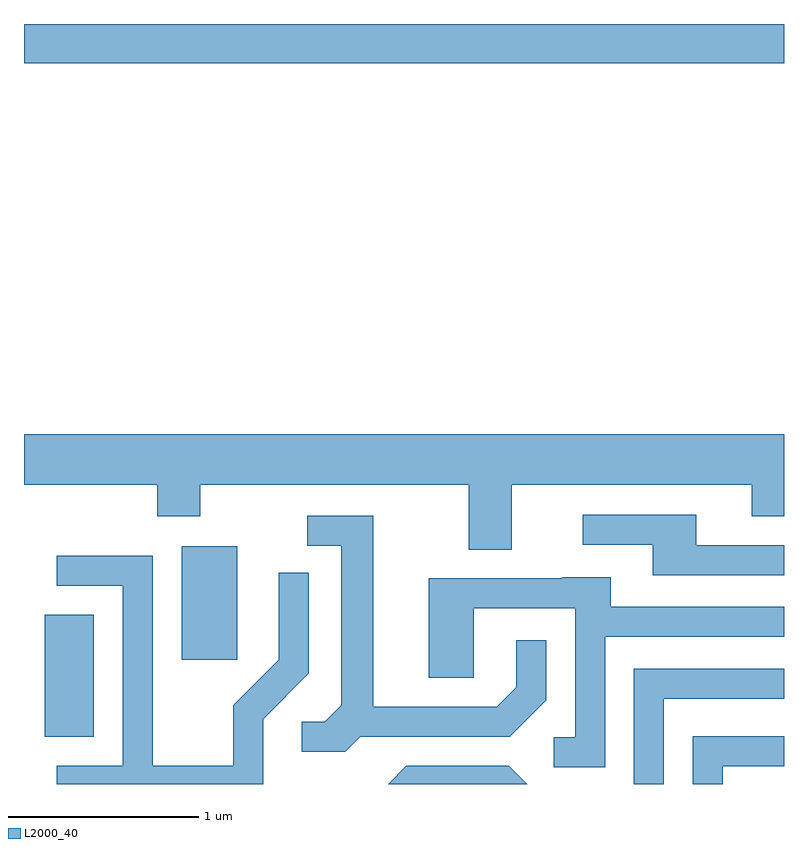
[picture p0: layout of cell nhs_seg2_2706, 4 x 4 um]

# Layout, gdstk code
import gdstk
lib = gdstk.Library(unit=1e-6, precision=1e-09)
def R(c, l, rs):  # rectangles x0, y0, x1, y1
    for r in rs: c.add(gdstk.rectangle(r[:2], r[2:], *l))
def P(c, l, *ps):  # polygons
    for p in ps: c.add(gdstk.Polygon(p, *l))
L2000_40 = (2000, 40)

nhs_seg2_2706 = lib.new_cell('nhs_seg2_2706')
R(nhs_seg2_2706, L2000_40, [(263.721,1098.051,263.979,1098.694), (264.441,1098.456,264.734,1099.054), (263.611,1101.596,267.611,1101.802)])
P(nhs_seg2_2706, L2000_40, [(266.179,1099.376),(267.441,1099.376),(267.441,1099.211),(267.611,1099.211),(267.611,1099.644),(263.611,1099.644),(263.611,1099.376),(264.311,1099.376),(264.311,1099.211),(264.539,1099.211),(264.539,1099.376),(265.951,1099.376),(265.951,1099.036),(266.179,1099.036)],
  [(267.611,1099.059),(267.149,1099.059),(267.149,1099.219),(266.553,1099.219),(266.553,1099.061),(266.921,1099.061),(266.921,1098.901),(267.611,1098.901)],
  [(265.382,1098.051),(266.167,1098.051),(266.359,1098.244),(266.359,1098.558),(266.201,1098.558),(266.201,1098.312),(266.099,1098.209),(265.449,1098.209),(265.449,1099.214),(265.103,1099.214),(265.103,1099.056),(265.281,1099.056),(265.281,1098.217),(265.194,1098.129),(265.073,1098.129),(265.073,1097.971),(265.302,1097.971)],
  [(264.869,1098.144),(265.109,1098.384),(265.109,1098.913),(264.951,1098.913),(264.951,1098.457),(264.711,1098.217),(264.711,1097.899),(264.289,1097.899),(264.289,1099.004),(263.783,1099.004),(263.783,1098.846),(264.131,1098.846),(264.131,1097.899),(263.783,1097.899),(263.783,1097.802),(264.869,1097.802)],
  [(266.669,1098.576),(267.611,1098.576),(267.611,1098.734),(266.699,1098.734),(266.699,1098.889),(266.445,1098.889),(266.445,1098.884),(265.741,1098.884),(265.741,1098.361),(265.979,1098.361),(265.979,1098.726),(266.511,1098.726),(266.511,1098.049),(266.398,1098.049),(266.398,1097.891),(266.669,1097.891)],
  [(266.979,1098.251),(267.611,1098.251),(267.611,1098.409),(266.821,1098.409),(266.821,1097.802),(266.979,1097.802)],
  [(267.289,1097.896),(267.611,1097.896),(267.611,1098.054),(267.131,1098.054),(267.131,1097.802),(267.289,1097.802)],
  [(266.162,1097.899),(265.624,1097.899),(265.527,1097.802),(266.259,1097.802)])

lib.write_gds('nhs_seg2_2706.gds')
